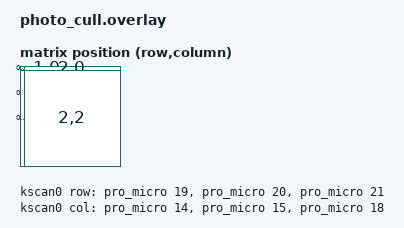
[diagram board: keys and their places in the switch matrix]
#include <dt-bindings/zmk/matrix_transform.h>
/ {
    chosen {
        zmk,kscan = &kscan0;
        zmk,physical_layout = &physical_layout0;
    };

    kscan0: kscan_0 {
        compatible = "zmk,kscan-gpio-matrix";
        diode-direction = "col2row";

        row-gpios
            = <&pro_micro 19 (GPIO_ACTIVE_HIGH | GPIO_PULL_DOWN)>
            , <&pro_micro 20 (GPIO_ACTIVE_HIGH | GPIO_PULL_DOWN)>
            , <&pro_micro 21 (GPIO_ACTIVE_HIGH | GPIO_PULL_DOWN)>
            ;

        col-gpios
            = <&pro_micro 14 GPIO_ACTIVE_HIGH>
            , <&pro_micro 15 GPIO_ACTIVE_HIGH>
            , <&pro_micro 18 GPIO_ACTIVE_HIGH>
            ;
    };

    default_transform: keymap_transform0 {
        compatible = "zmk,matrix-transform";
        columns = <3>; // Length of the "col-gpios" array
        rows = <3>; // Length of the "row-gpios" array
        map = <
        //   Key 1 | Key 2 | Key 3
            RC(0,0) RC(0,1) RC(0,2)
        //   Key 4 | Key 5 | Key 6
            RC(1,0) RC(1,1) RC(1,2)
        //   Key 7 | Key 8 | Key 9
            RC(2,0) RC(2,1) RC(2,2)
        >;
    };

    physical_layout0: physical_layout_0 { // First physical layout, use different naming for other layouts
        compatible = "zmk,physical-layout";
        display-name = "Default Layout";
        kscan = <&kscan0>; // Label of the kscan node, optional if all layouts use the same
        transform = <&default_transform>; // Label of the matrix transform for this layout

        keys
            = <&key_physical_attrs 0 0 100 100 0 0 0> // Row 1, Col 1
            , <&key_physical_attrs 0 100 100 100 0 0 0> // Row 1, Col 2
            , <&key_physical_attrs 0 200 100 100 0 0 0> // Row 1, Col 3
            
            , <&key_physical_attrs 100 0 100 100 0 0 0> // Row 2, Col 1
            , <&key_physical_attrs 100 100 100 100 0 0 0> // Row 2, Col 2
            , <&key_physical_attrs 100 200 100 100 0 0 0> // Row 2, Col 3
            
            , <&key_physical_attrs 200 0 100 100 0 0 0> // Row 3, Col 1
            , <&key_physical_attrs 200 100 100 100 0 0 0> // Row 3, Col 2
            , <&key_physical_attrs 200 200 100 100 0 0 0> // Row 3, Col 3
            ;
    };
};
